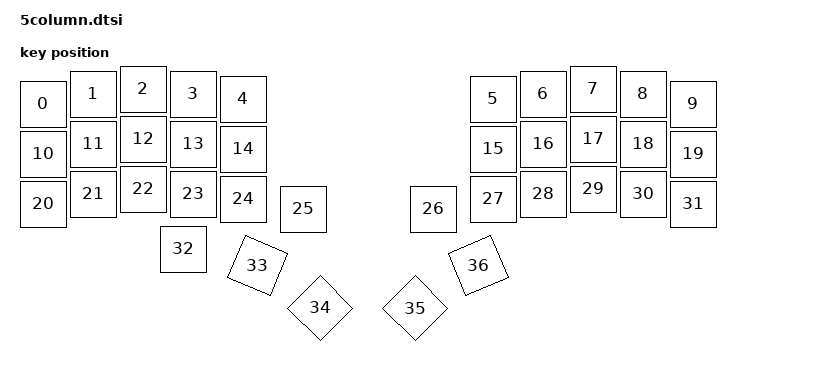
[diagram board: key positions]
#include <physical_layouts.dtsi>

/ {
    goblit_5col_layout: goblit_5col_layout {
        compatible = "zmk,physical-layout";
		transform = <&default_transform>;
        display-name = "5 Column";

		keys  //                     w   h    x    y     rot    rx    ry
            = <&key_physical_attrs 100 100  200   30       0     0     0>
            , <&key_physical_attrs 100 100  300   10       0     0     0>
            , <&key_physical_attrs 100 100  400    0       0     0     0>
            , <&key_physical_attrs 100 100  500   10       0     0     0>
            , <&key_physical_attrs 100 100  600   20       0     0     0>
            , <&key_physical_attrs 100 100 1100   20       0     0     0>
            , <&key_physical_attrs 100 100 1200   10       0     0     0>
            , <&key_physical_attrs 100 100 1300    0       0     0     0>
            , <&key_physical_attrs 100 100 1400   10       0     0     0>
            , <&key_physical_attrs 100 100 1500   30       0     0     0>
			
            , <&key_physical_attrs 100 100  200  130       0     0     0>
            , <&key_physical_attrs 100 100  300  110       0     0     0>
            , <&key_physical_attrs 100 100  400  100       0     0     0>
            , <&key_physical_attrs 100 100  500  110       0     0     0>
            , <&key_physical_attrs 100 100  600  120       0     0     0>
            , <&key_physical_attrs 100 100 1100  120       0     0     0>
            , <&key_physical_attrs 100 100 1200  110       0     0     0>
            , <&key_physical_attrs 100 100 1300  100       0     0     0>
            , <&key_physical_attrs 100 100 1400  110       0     0     0>
            , <&key_physical_attrs 100 100 1500  130       0     0     0>
			
            , <&key_physical_attrs 100 100  200  230       0     0     0>
            , <&key_physical_attrs 100 100  300  210       0     0     0>
            , <&key_physical_attrs 100 100  400  200       0     0     0>
            , <&key_physical_attrs 100 100  500  210       0     0     0>
            , <&key_physical_attrs 100 100  600  220       0     0     0>
			
			, <&key_physical_attrs 100 100  720  240       0     0     0>
            , <&key_physical_attrs 100 100  980  240       0     0     0>
			
            , <&key_physical_attrs 100 100 1100  220       0     0     0>
            , <&key_physical_attrs 100 100 1200  210       0     0     0>
            , <&key_physical_attrs 100 100 1300  200       0     0     0>
            , <&key_physical_attrs 100 100 1400  210       0     0     0>
            , <&key_physical_attrs 100 100 1500  230       0     0     0>			
			
            , <&key_physical_attrs 100 100  480  320       0     0     0>
            , <&key_physical_attrs 100 100  468  353    2300   600   800>
            , <&key_physical_attrs 100 100  474  385    4500   600   800>
			
            , <&key_physical_attrs 100 100 1225  385 (-4500)  1200   800>
            , <&key_physical_attrs 100 100 1232  353 (-2300)  1200   800>
        ;
    };
};
